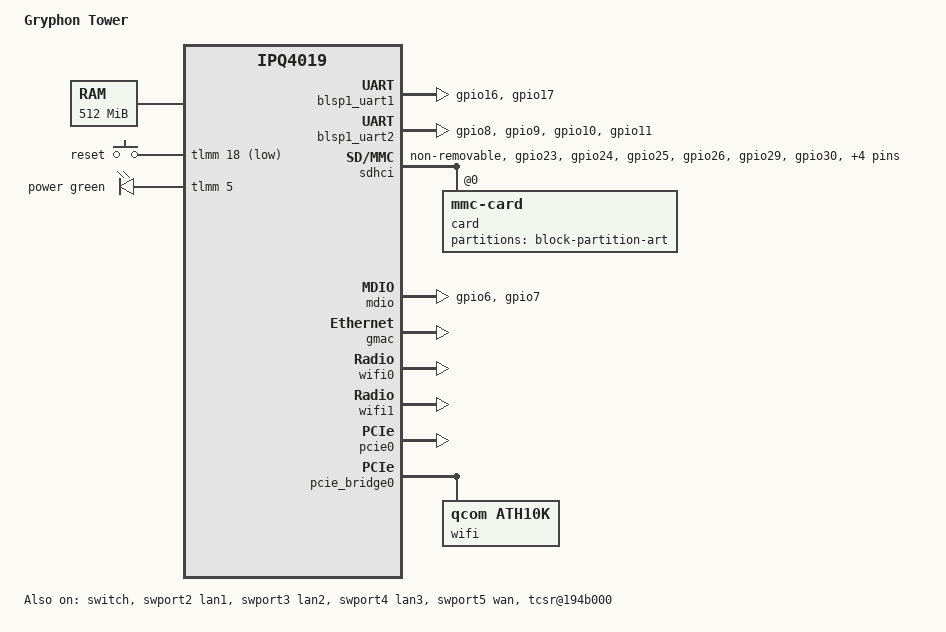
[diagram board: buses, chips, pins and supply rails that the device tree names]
// SPDX-License-Identifier: GPL-2.0-only OR MIT

#include "qcom-ipq4019.dtsi"
#include <dt-bindings/gpio/gpio.h>
#include <dt-bindings/input/input.h>
#include <dt-bindings/leds/common.h>
#include <dt-bindings/soc/qcom,tcsr.h>

/ {
	model = "Gryphon Tower";
	compatible = "gryphon,tower", "qcom,ipq4019";

	memory@80000000 {
		device_type = "memory";
		reg = <0x80000000 0x20000000>;
	};

	chosen {
		bootargs-append = " root=/dev/mmcblk0p14 rootfstype=squashfs rootwait";
	};

	aliases {
		ethernet0 = &gmac;
		label-mac-device = &gmac;
		serial0 = &blsp1_uart1;
		serial1 = &blsp1_uart2;
		wifi0 = &wifi0;
		wifi1 = &wifi1;
	};

	soc {
		tcsr@1949000 {
			compatible = "qcom,tcsr";
			reg = <0x1949000 0x100>;
			qcom,wifi_glb_cfg = <TCSR_WIFI_GLB_CFG>;
		};

		tcsr@194b000 {
			compatible = "qcom,tcsr";
			reg = <0x194b000 0x100>;
			qcom,usb-hsphy-mode-select = <TCSR_USB_HSPHY_HOST_MODE>;
			status = "okay";
		};

		ess_tcsr@1953000 {
			compatible = "qcom,tcsr";
			reg = <0x1953000 0x1000>;
			qcom,ess-interface-select = <TCSR_ESS_PSGMII>;
		};

		tcsr@1957000 {
			compatible = "qcom,tcsr";
			reg = <0x1957000 0x100>;
			qcom,wifi_noc_memtype_m0_m2 = <TCSR_WIFI_NOC_MEMTYPE_M0_M2>;
		};
	};

	keys {
		compatible = "gpio-keys";

		reset {
			label = "reset";
			gpios = <&tlmm 18 GPIO_ACTIVE_LOW>;
			linux,code = <KEY_RESTART>;
			linux,input-type = <1>;
		};
	};

	leds {
		compatible = "gpio-leds";

		power {
			function = LED_FUNCTION_POWER;
			color = <LED_COLOR_ID_GREEN>;
			gpios = <&tlmm 5 GPIO_ACTIVE_HIGH>;
			default-state = "on";
		};
	};
};

&blsp1_uart1 {
	pinctrl-0 = <&serial_pins>;
	pinctrl-names = "default";
	status = "okay";
};


&blsp1_uart2 {
	status = "okay";
	pinctrl-0 = <&bluetooth_pins>;
	pinctrl-names = "default";
	/*
	bluetooth {
		compatible = "csr,8811";

		enable-gpios = <&tlmm 11 GPIO_ACTIVE_HIGH>;
	};
	*/
};


&tlmm {
	serial_pins: serial_pinmux {
		mux {
			pins = "gpio16", "gpio17";
			function = "blsp_uart0";
			bias-disable;
		};
	};

	bluetooth_pins: bluetooth-pinmux {
		mux {
			pins = "gpio8", "gpio9", "gpio10", "gpio11";
			function = "blsp_uart1";
			bias-disable;
		};
	};

	mdio_pins: mdio_pinmux {
		mux_1 {
			pins = "gpio6";
			function = "mdio";
			bias-pull-up;
		};

		mux_2 {
			pins = "gpio7";
			function = "mdc";
			bias-pull-up;
		};
	};

	sd_pins: sd_pins {
		pinmux {
			function = "sdio";
			pins = "gpio23", "gpio24", "gpio25", "gpio26",
				"gpio29", "gpio30", "gpio31", "gpio32";
			drive-strength = <10>;
		};

		pinmux_sd_clk {
			function = "sdio";
			pins = "gpio27";
			drive-strength = <16>;
		};

		pinmux_sd7 {
			function = "sdio";
			pins = "gpio28";
			drive-strength = <10>;
			bias-disable;
		};
	};
};

&sdhci {
	status = "okay";
	pinctrl-0 = <&sd_pins>;
	pinctrl-names = "default";
	non-removable;
	#address-cells = <1>;
	#size-cells = <0>;

	card@0 {
		compatible = "mmc-card";
		reg = <0>;

		block {
			compatible = "block-device";
			partitions {
				block-partition-art {
					partname = "0:ART";

					nvmem-layout {
						compatible = "fixed-layout";
						#address-cells = <1>;
						#size-cells = <1>;

						precal_art_1000: precal@1000 {
							reg = <0x1000 0x2f20>;
						};

						precal_art_5000: precal@5000 {
							reg = <0x5000 0x2f20>;
						};

						mac_address: mac-address@0 {
							compatible = "mac-base";
							reg = <0x0 0x6>;
							#nvmem-cell-cells = <1>;
						};
					};
				};
			};
		};
	};
};

&mdio {
	status = "okay";
	pinctrl-0 = <&mdio_pins>;
	pinctrl-names = "default";
};

&gmac {
	status = "okay";
	nvmem-cells = <&mac_address 0>;
	nvmem-cell-names = "mac-address";
};

&switch {
	status = "okay";
};

&swport2 {
	status = "okay";
	label = "lan1";
};

&swport3 {
	status = "okay";
	label = "lan2";
};

&swport4 {
	status = "okay";
	label = "lan3";
};

&swport5 {
	status = "okay";
	label = "wan";
};

&wifi0 {
	status = "okay";
	nvmem-cells = <&precal_art_1000>, <&mac_address 3>;
	nvmem-cell-names = "pre-calibration", "mac-address";
};

&wifi1 {
	status = "okay";
	nvmem-cells = <&precal_art_5000>, <&mac_address 8>;
	nvmem-cell-names = "pre-calibration", "mac-address";
};

&pcie0 {
	status = "okay";
	perst-gpios = <&tlmm 38 GPIO_ACTIVE_LOW>;
	wake-gpios = <&tlmm 40 GPIO_ACTIVE_LOW>;
	clkreq-gpios = <&tlmm 39 GPIO_ACTIVE_LOW>;
};

&pcie_bridge0 {
	wifi@0,0 {
		compatible = "qcom,ath10k";
		reg = <0x00010000 0 0 0 0>;
		nvmem-cells = <&mac_address 11>;
		nvmem-cell-names = "mac-address";
		qcom,ath10k-calibration-variant = "gryphon-tower";
	};
};
